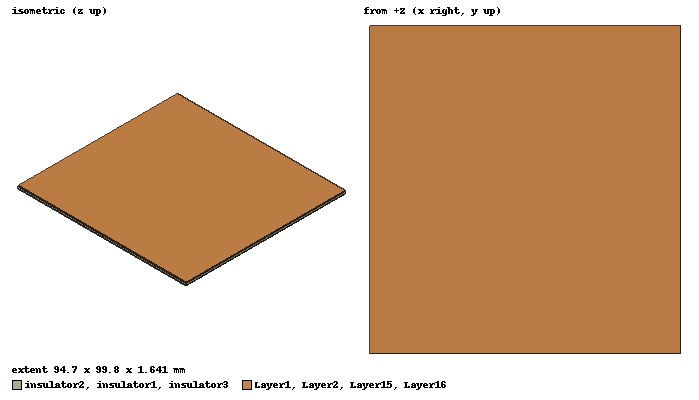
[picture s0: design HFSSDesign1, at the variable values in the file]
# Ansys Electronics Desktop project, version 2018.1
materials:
  vacuum: permittivity=1
  copper: permeability=0.999991 conductivity=58000000
  FR4_epoxy: permittivity=4.4 dielectric_loss_tangent=0.02

design HFSSDesign1 (HFSS, DrivenModal, model units mm)
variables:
  zC = 0
  p = 0
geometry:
  Layer1 [copper] = box(corner=(-44.8mm, -49.9mm, -10mm-zC*10mm+p*1.641mm), size=(94.7mm, 99.8mm, -0.0356mm))
  insulator1 [FR4_epoxy] = box(corner=(-44.8mm, -49.9mm, -10.0356mm-zC*10mm+p*1.641mm), size=(94.7mm, 99.8mm, -0.1702mm))
  Layer15 [copper] = box(corner=(-44.8mm, -49.9mm, -10.2058mm-zC*10mm+p*1.641mm), size=(94.7mm, 99.8mm, -0.0178mm))
  insulator2 [FR4_epoxy] = box(corner=(-44.8mm, -49.9mm, -10.2236mm-zC*10mm+p*1.641mm), size=(94.7mm, 99.8mm, -1.1938mm))
  Layer16 [copper] = box(corner=(-44.8mm, -49.9mm, -11.4174mm-zC*10mm+p*1.641mm), size=(94.7mm, 99.8mm, -0.0178mm))
  insulator3 [FR4_epoxy] = box(corner=(-44.8mm, -49.9mm, -11.4352mm-zC*10mm+p*1.641mm), size=(94.7mm, 99.8mm, -0.1702mm))
  Layer2 [copper] = box(corner=(-44.8mm, -49.9mm, -11.6054mm-zC*10mm+p*1.641mm), size=(94.7mm, 99.8mm, -0.0356mm))
